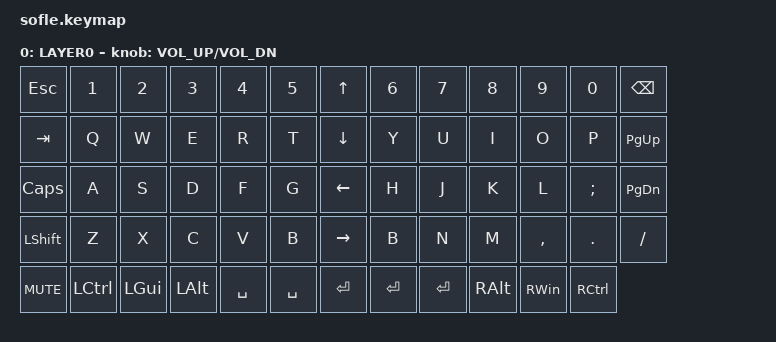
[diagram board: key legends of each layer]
#include <behaviors/mouse_keys.dtsi>
#include <behaviors.dtsi>
#include <dt-bindings/zmk/keys.h>

#define ZMK_MOUSE_DEFAULT_MOVE_VAL 1200  // 600
#define ZMK_MOUSE_DEFAULT_SCRL_VAL 20    // 10
#define U_MS_U &mmv MOVE_UP
#define U_MS_D &mmv MOVE_DOWN
#define U_MS_L &mmv MOVE_LEFT
#define U_MS_R &mmv MOVE_RIGHT
#define ZMK_MOUSE_DEFAULT_MOVE_VAL 1200  //  600
#define ZMK_MOUSE_DEFAULT_SCRL_VAL 20    // 10

/ {
    behaviors {
        mmv {
            acceleration-exponent = <1>;      // 1
            time-to-max-speed-ms = <900>;    // 40
            delay-ms = <0>;                   // 0
        };

        msc {
            acceleration-exponent = <1>;      // 0
            time-to-max-speed-ms = <400>;      // 500
            delay-ms = <0>;                   //   10
        };
    };

    scroll_encoder: scroll_encoder {
        compatible = "zmk,behavior-sensor-rotate";
        #sensor-binding-cells = <0>;
        bindings = <&msc SCRL_DOWN>, <&msc SCRL_UP>;

        tap-ms = <30>;
    };

    keymap {
        compatible = "zmk,keymap";

        layer0 {
            bindings = <
&kp ESC     &kp N1     &kp N2        &kp N3        &kp N4     &kp N5       &kp UP_ARROW     &kp N6     &kp N7     &kp N8         &kp N9         &kp N0      &kp BACKSPACE
&kp TAB     &kp Q      &kp W         &kp E         &kp R      &kp T        &kp DOWN_ARROW   &kp Y      &kp U      &kp I          &kp O          &kp P       &kp PG_UP
&kp CAPS    &kp A      &kp S         &kp D         &kp F      &kp G        &kp LEFT_ARROW   &kp H      &kp J      &kp K          &kp L          &kp SEMI    &kp PAGE_DOWN
&kp LSHFT   &kp Z      &kp X         &kp C         &kp V      &kp B        &kp RIGHT_ARROW  &kp B      &kp N      &kp M          &kp COMMA      &kp PERIOD  &kp SLASH
&kp C_MUTE  &kp LCTRL  &kp LEFT_GUI  &kp LEFT_ALT  &kp SPACE  &kp SPACE    &kp ENTER        &kp ENTER  &kp ENTER  &kp RIGHT_ALT  &kp RIGHT_WIN  &kp RCTRL
            >;

            sensor-bindings = <&inc_dec_kp C_VOLUME_UP C_VOL_DN>;
            display-name = "LAYER0";
        };
    };
};
